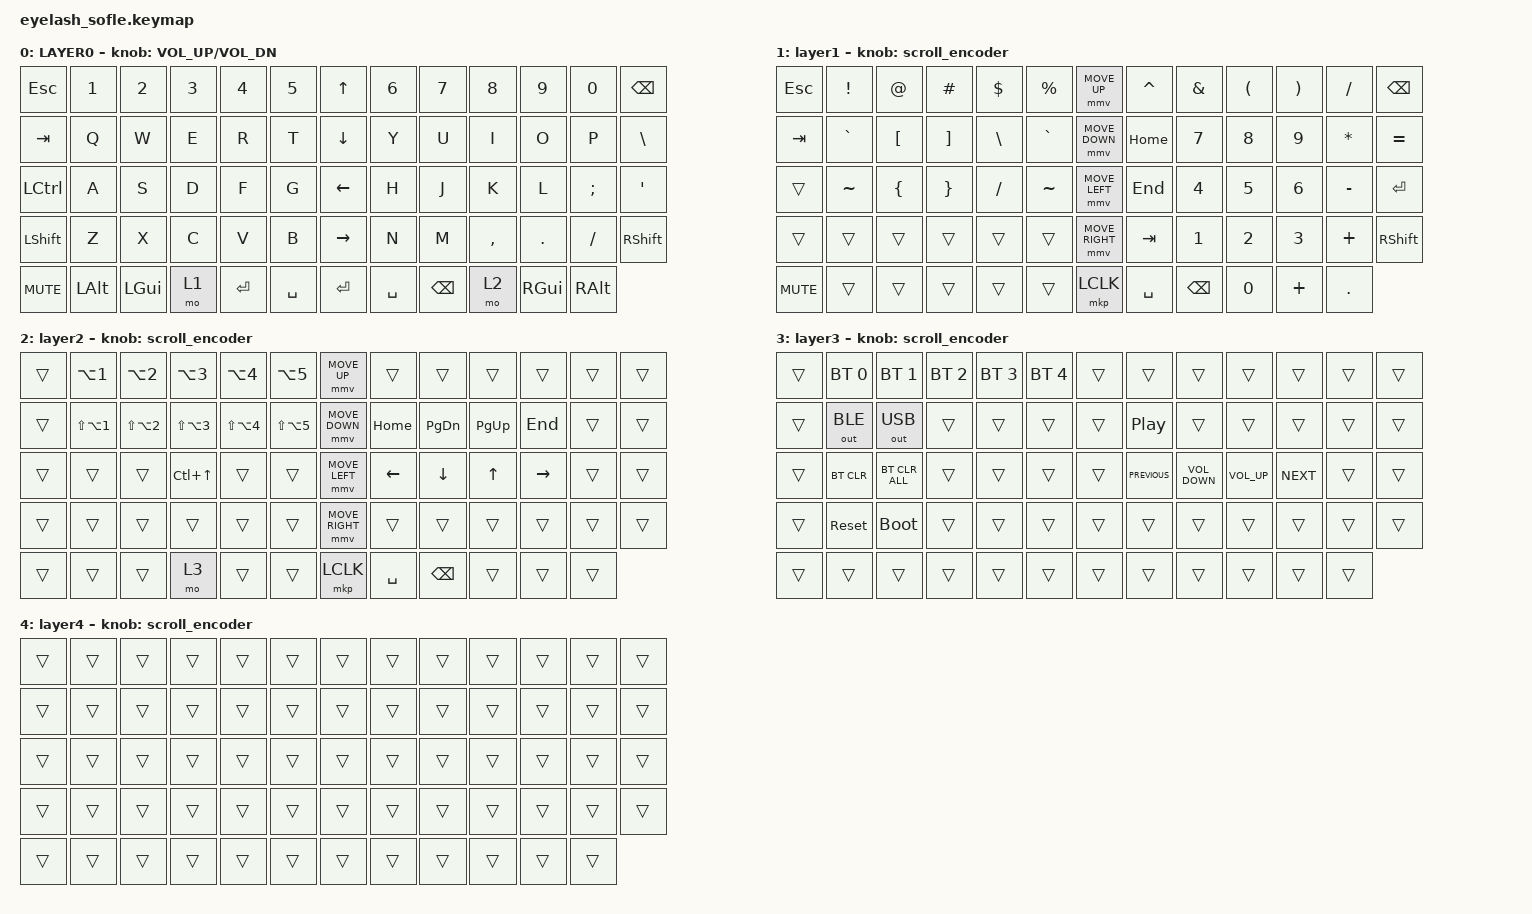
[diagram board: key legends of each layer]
#define ZMK_POINTING_DEFAULT_MOVE_VAL 1200  // 600
#define ZMK_POINTING_DEFAULT_SCRL_VAL 25   // 10

#include <input/processors.dtsi>
#include <zephyr/dt-bindings/input/input-event-codes.h>
#include <behaviors.dtsi>
#include <dt-bindings/zmk/bt.h>
#include <dt-bindings/zmk/keys.h>
#include <dt-bindings/zmk/outputs.h>
#include <dt-bindings/zmk/pointing.h>

&mmv_input_listener { input-processors = <&zip_xy_scaler 2 1>; };

&msc_input_listener { input-processors = <&zip_scroll_scaler 2 1>; };

&msc {
    acceleration-exponent = <1>;      // 0
    time-to-max-speed-ms = <100>;       // 300
    delay-ms = <0>;                   // 0
};

&mmv {
    time-to-max-speed-ms = <500>;
    acceleration-exponent = <1>;
    trigger-period-ms = <16>;
};

&soft_off { hold-time-ms = <2000>; };

/ {
    scroll_encoder: scroll_encoder {
        compatible = "zmk,behavior-sensor-rotate";
        #sensor-binding-cells = <0>;
        bindings = <&msc SCRL_DOWN>, <&msc SCRL_UP>;

        tap-ms = <100>;
    };

    behaviors {
    };

    combos {
        compatible = "zmk,combos";

        softoff {
            bindings = <&soft_off>;
            key-positions = <14 28 40>;
        };
    };

    macros {
        SHIFT_MCLK: SHIFT_MCLK {
            compatible = "zmk,behavior-macro";
            #binding-cells = <0>;
            bindings =
                <&macro_press>,
                <&kp LEFT_SHIFT>,
                <&macro_press>,
                <&mkp MB3>,
                <&macro_pause_for_release>,
                <&macro_release>,
                <&kp LEFT_SHIFT &mkp MB3>;

            label = "SHIFT_MCLK";
        };
    };

    keymap {
        compatible = "zmk,keymap";

        layer0 {
            bindings = <
&kp ESC           &kp N1     &kp N2        &kp N3  &kp N4     &kp N5       &kp UP_ARROW     &kp N6     &kp N7         &kp N8     &kp N9         &kp N0         &kp BACKSPACE
&kp TAB           &kp Q      &kp W         &kp E   &kp R      &kp T        &kp DOWN_ARROW   &kp Y      &kp U          &kp I      &kp O          &kp P          &kp BSLH
&kp LEFT_CONTROL  &kp A      &kp S         &kp D   &kp F      &kp G        &kp LEFT_ARROW   &kp H      &kp J          &kp K      &kp L          &kp SEMI       &kp APOS
&kp LSHFT         &kp Z      &kp X         &kp C   &kp V      &kp B        &kp RIGHT_ARROW  &kp N      &kp M          &kp COMMA  &kp DOT        &kp FSLH       &kp RIGHT_SHIFT
&kp C_MUTE        &kp LEFT_ALT  &kp LEFT_GUI  &mo 1   &kp ENTER  &kp SPACE    &kp ENTER        &kp SPACE  &kp BACKSPACE  &mo 2      &kp RIGHT_GUI  &kp RIGHT_ALT
            >;

            sensor-bindings = <&inc_dec_kp C_VOLUME_UP C_VOL_DN>;
            display-name = "LAYER0";
        };

        layer_1 {
            bindings = <
&kp ESCAPE  &kp EXCLAMATION  &kp AT_SIGN       &kp HASH           &kp DOLLAR     &kp PERCENT    &mmv MOVE_UP     &kp CARET  &kp AMPERSAND  &kp LEFT_PARENTHESIS  &kp RIGHT_PARENTHESIS  &kp SLASH     &kp BACKSPACE
&kp TAB     &kp GRAVE        &kp LEFT_BRACKET  &kp RIGHT_BRACKET  &kp BACKSLASH  &kp GRAVE      &mmv MOVE_DOWN   &kp HOME   &kp NUMBER_7   &kp NUMBER_8          &kp NUMBER_9           &kp ASTERISK  &kp EQUAL
&trans      &kp TILDE        &kp LEFT_BRACE    &kp RIGHT_BRACE    &kp SLASH      &kp TILDE      &mmv MOVE_LEFT   &kp END    &kp NUMBER_4   &kp NUMBER_5          &kp NUMBER_6           &kp MINUS     &kp ENTER
&trans      &trans           &trans            &trans             &trans         &trans         &mmv MOVE_RIGHT  &kp TAB    &kp NUMBER_1   &kp NUMBER_2          &kp NUMBER_3           &kp PLUS      &kp RIGHT_SHIFT
&kp C_MUTE  &trans           &trans            &trans             &trans         &trans         &mkp LCLK        &kp SPACE  &kp BACKSPACE  &kp NUMBER_0          &kp PLUS               &kp DOT
            >;

            display-name = "layer1";
            sensor-bindings = <&scroll_encoder>;
        };

        layer_2 {
            bindings = <
&trans  &kp LA(NUMBER_1)      &kp LA(NUMBER_2)      &kp LA(NUMBER_3)      &kp LA(NUMBER_4)      &kp LA(NUMBER_5)        &mmv MOVE_UP     &trans     &trans         &trans        &trans     &trans  &trans
&trans  &kp LS(LA(NUMBER_1))  &kp LS(LA(NUMBER_2))  &kp LS(LA(NUMBER_3))  &kp LS(LA(NUMBER_4))  &kp LS(LA(NUMBER_5))    &mmv MOVE_DOWN   &kp HOME   &kp PAGE_DOWN  &kp PAGE_UP   &kp END    &trans  &trans
&trans  &trans                &trans                &kp LC(UP_ARROW)      &trans                &trans                  &mmv MOVE_LEFT   &kp LEFT   &kp DOWN       &kp UP_ARROW  &kp RIGHT  &trans  &trans
&trans  &trans                &trans                &trans                &trans                &trans                  &mmv MOVE_RIGHT  &trans     &trans         &trans        &trans     &trans  &trans
&trans  &trans                &trans                &mo 3                 &trans                &trans                  &mkp LCLK        &kp SPACE  &kp BACKSPACE  &trans        &trans     &trans
            >;

            display-name = "layer2";
            sensor-bindings = <&scroll_encoder>;
        };

        layer_3 {
            bindings = <
&trans  &bt BT_SEL 0  &bt BT_SEL 1    &bt BT_SEL 2  &bt BT_SEL 3  &bt BT_SEL 4    &trans  &trans            &trans             &trans           &trans      &trans  &trans
&trans  &out OUT_BLE  &out OUT_USB    &trans        &trans        &trans          &trans  &kp C_PLAY_PAUSE  &trans             &trans           &trans      &trans  &trans
&trans  &bt BT_CLR    &bt BT_CLR_ALL  &trans        &trans        &trans          &trans  &kp C_PREVIOUS    &kp C_VOLUME_DOWN  &kp C_VOLUME_UP  &kp C_NEXT  &trans  &trans
&trans  &sys_reset    &bootloader     &trans        &trans        &trans          &trans  &trans            &trans             &trans           &trans      &trans  &trans
&trans  &trans        &trans          &trans        &trans        &trans          &trans  &trans            &trans             &trans           &trans      &trans
            >;

            display-name = "layer3";
            sensor-bindings = <&scroll_encoder>;
        };

        layer_4 {
            bindings = <
&trans  &trans  &trans  &trans  &trans  &trans    &trans  &trans  &trans  &trans  &trans  &trans  &trans
&trans  &trans  &trans  &trans  &trans  &trans    &trans  &trans  &trans  &trans  &trans  &trans  &trans
&trans  &trans  &trans  &trans  &trans  &trans    &trans  &trans  &trans  &trans  &trans  &trans  &trans
&trans  &trans  &trans  &trans  &trans  &trans    &trans  &trans  &trans  &trans  &trans  &trans  &trans
&trans  &trans  &trans  &trans  &trans  &trans    &trans  &trans  &trans  &trans  &trans  &trans
            >;

            display-name = "layer4";
            sensor-bindings = <&scroll_encoder>;
        };
    };
};
